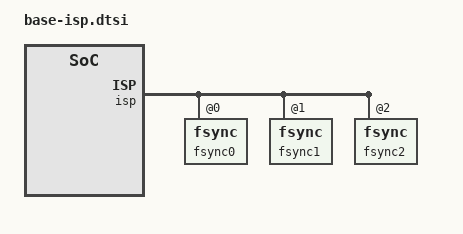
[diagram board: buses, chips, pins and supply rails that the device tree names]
#include <dt-bindings/media/bst-isp.h>
#include <generated/autoconf.h>

&isp {
	memory-region = <&isp_fw_msg_rsv>,	// Required to exchange message
			<&isp_fw_buf_rsv>,	// Required for ISP firmware
			<&bst_ipc_reserved>;	// When IPC mode is used, this must be third region, not used by MsgBox
#if defined(CONFIG_VIDEO_BST_ISP_MULTI_OS)
	fw-bin = "isp/core_isp.exe.msgbox";	// Enable it and remove use-ipc to use MsgBox mode
#else
	use-ipc;				// Enable it to use IPC mode
#endif
	iommus = <&mmu600_coreip 5>;		// Remove it to disable SMMU
	status = "okay";

	fsync0: fsync@0 {
		source = <FSYNC_INNER0>;
		tx-pin = <5>;
		tx-fps = <20>;
		map-to-outer = <FSYNC_OUTER2>;
		rx-pin = <3>;
	};
	fsync1: fsync@1 {
		source = <FSYNC_INNER0>;
		tx-pin = <6>;
		tx-fps = <20>;
		map-to-outer = <FSYNC_OUTER2>;
		rx-pin = <3>;
	};
	fsync2: fsync@2 {
		source = <FSYNC_INNER0>;
		tx-pin = <7>;
		tx-fps = <20>;
		map-to-outer = <FSYNC_OUTER2>;
		rx-pin = <3>;
	};
};
